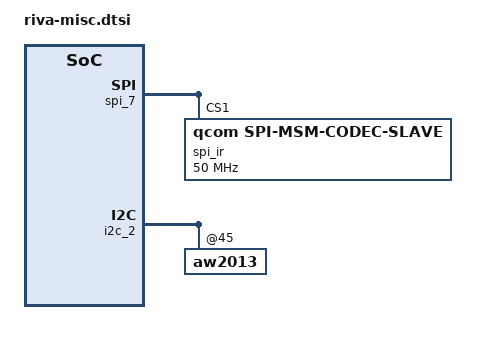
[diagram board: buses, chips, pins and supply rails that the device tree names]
/*
 * Copyright (c) 2016, The Linux Foundation. All rights reserved.
 * Copyright (C) 2018 XiaoMi, Inc.
 *
 * This program is free software; you can redistribute it and/or modify
 * it under the terms of the GNU General Public License version 2 and
 * only version 2 as published by the Free Software Foundation.
 *
 * This program is distributed in the hope that it will be useful,
 * but WITHOUT ANY WARRANTY; without even the implied warranty of
 * MERCHANTABILITY or FITNESS FOR A PARTICULAR PURPOSE.  See the
 * GNU General Public License for more details.
 */

&spi_7{
        status = "ok";
        spi_ir@1 {
                compatible = "qcom,spi-msm-codec-slave";
                reg = <1>;
                spi-max-frequency = <50000000>;
                spi-cpol;
                status = "ok";
        };
};

&i2c_2  {
	aw2013@45 {
		aw2013,white {
			aw2013,name = "white";
			aw2013,id = <0>;
			aw2013,max-brightness = <255>;
			aw2013,max-current = <1>;
			aw2013,rise-time-ms = <2>;
			aw2013,hold-time-ms = <1>;
			aw2013,fall-time-ms = <2>;
			aw2013,off-time-ms = <1>;
		};
	};
};
